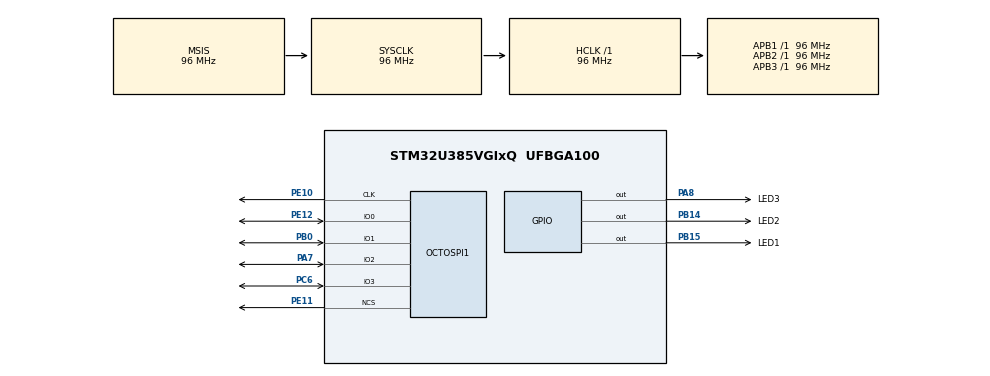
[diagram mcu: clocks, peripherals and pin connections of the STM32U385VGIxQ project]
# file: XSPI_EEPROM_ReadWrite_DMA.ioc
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CORTEX_M33_NS.userName=CORTEX_M33
GPDMA1.DESTBURSTLENGTH_GPDMACH0=1
GPDMA1.DESTDATAWIDTH_GPDMACH0=DMA_DEST_DATAWIDTH_BYTE
GPDMA1.DESTINC_GPDMACH0=DMA_DINC_INCREMENTED
GPDMA1.DIRECTION_GPDMACH1=DMA_MEMORY_TO_PERIPH
GPDMA1.DMAHANDLE_GPDMACH1=hdmatx
GPDMA1.IPHANDLE_GPDMACH0-SIMPLEREQUEST_GPDMACH0=__NULL
GPDMA1.IPHANDLE_GPDMACH1-SIMPLEREQUEST_GPDMACH1=__NULL
GPDMA1.PRIORITY_GPDMACH0=DMA_LOW_PRIORITY_HIGH_WEIGHT
GPDMA1.REQUEST_GPDMACH0=GPDMA1_REQUEST_OCTOSPI1
GPDMA1.REQUEST_GPDMACH1=GPDMA1_REQUEST_OCTOSPI1
GPDMA1.SRCBURSTLENGTH_GPDMACH0=1
GPDMA1.SRCDATAWIDTH_GPDMACH0=DMA_SRC_DATAWIDTH_BYTE
GPDMA1.SRCINC_GPDMACH1=DMA_SINC_INCREMENTED
GPDMA1.TRANSFERALLOCATEDPORTDEST_GPDMACH0=DMA_DEST_ALLOCATED_PORT1
Mcu.Family=STM32U3
Mcu.Name=STM32U385VGIxQ
Mcu.Package=UFBGA100
NVIC.GPDMA1_Channel0_IRQn=true\:0\:0\:false\:false\:true\:false\:true\:true
NVIC.GPDMA1_Channel1_IRQn=true\:0\:0\:false\:false\:true\:false\:true\:true
NVIC.OCTOSPI1_IRQn=true\:0\:0\:false\:false\:true\:true\:true\:true
NVIC.PriorityGroup=NVIC_PRIORITYGROUP_4
OCTOSPI1.ChipSelectHighTimeCycle=2
OCTOSPI1.ClockPrescaler=1
OCTOSPI1.DelayHoldQuarterCycle=HAL_XSPI_DHQC_DISABLE
OCTOSPI1.DeviceType=SPI_DEVICE_FLASH
OCTOSPI1.MemorySize=HAL_XSPI_SIZE_32MB
OCTOSPI1.MemoryType=HAL_XSPI_MEMTYPE_MACRONIX
OCTOSPI1.SampleShifting=HAL_XSPI_SAMPLE_SHIFT_HALFCYCLE
PA7.Mode=OCTOSPI1_IO[3\:0]
PA7.PinAttribute=CortexM33
PA7.Signal=OCTOSPI1_IO2
PA8.GPIO_Label=LED3
PA8.PinAttribute=Free
PA8.PinState=GPIO_PIN_SET
PA8.Signal=GPIO_Output
PB0.Mode=OCTOSPI1_IO[3\:0]
PB0.PinAttribute=CortexM33
PB0.Signal=OCTOSPI1_IO1
PB14.GPIO_Label=LED2
PB14.PinAttribute=Free
PB14.PinState=GPIO_PIN_SET
PB14.Signal=GPIO_Output
PB15.GPIO_Label=LED1
PB15.PinAttribute=Free
PB15.PinState=GPIO_PIN_SET
PB15.Signal=GPIO_Output
PC6.Mode=OCTOSPI1_IO[3\:0]
PC6.PinAttribute=CortexM33
PC6.Signal=OCTOSPI1_IO3
PE10.Mode=quad_mode
PE10.PinAttribute=CortexM33
PE10.Signal=OCTOSPI1_CLK
PE11.Mode=quad_mode
PE11.PinAttribute=CortexM33
PE11.Signal=OCTOSPI1_NCS
PE12.Mode=OCTOSPI1_IO[3\:0]
PE12.PinAttribute=CortexM33
PE12.Signal=OCTOSPI1_IO0
ProjectManager.HeapSize=0x200
ProjectManager.StackSize=0x400
ProjectManager.TargetToolchain=EWARM V9.20
RCC.ADCFreq_Value=96000000
RCC.AHBFreq_Value=96000000
RCC.APB1Freq_Value=96000000
RCC.APB1TimFreq_Value=96000000
RCC.APB2Freq_Value=96000000
RCC.APB2TimFreq_Value=96000000
RCC.APB3Freq_Value=96000000
RCC.CortexFreq_Value=12000000
RCC.HCLKFreq_Value=96000000
RCC.HSE_VALUE=16000000
RCC.HSI48_VALUE=48000000
RCC.HSI_VALUE=16000000
RCC.LSE_VALUE=32768
RCC.LSIDIV_VALUE=32000
RCC.MSISDIV=RCC_MSI_DIV1
RCC.OCTOSPIMCLockSelection=RCC_OCTOSPICLKSOURCE_MSIK
RCC.SYSCLKFreq_VALUE=96000000
RCC.USBFreq_Value=96000000
VP_GPDMA1_VS_GPDMACH0.Mode=SIMPLEREQUEST_GPDMACH0
VP_GPDMA1_VS_GPDMACH1.Mode=SIMPLEREQUEST_GPDMACH1
VP_ICACHE_VS_ICACHE.Mode=DirectMappedCache
VP_PWR_VS_DBSignals.Mode=DisableDeadBatterySignals
VP_PWR_VS_LPOM.Mode=PowerOptimisation
VP_PWR_VS_SECSignals.Mode=Security/Privilege
board=custom

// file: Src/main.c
/* USER CODE BEGIN Header */
/**
  ******************************************************************************
  * @file           : main.c
  * @brief          : Main program body
  ******************************************************************************
  * @attention
  *
  * Copyright (c) 2024 STMicroelectronics.
  * All rights reserved.
  *
  * This software is licensed under terms that can be found in the LICENSE file
  * in the root directory of this software component.
  * If no LICENSE file comes with this software, it is provided AS-IS.
  *
  ******************************************************************************
  */
/* USER CODE END Header */
#include "main.h"

XSPI_HandleTypeDef hxspi1;
DMA_HandleTypeDef handle_GPDMA1_Channel1;
DMA_HandleTypeDef handle_GPDMA1_Channel0;

/* USER CODE BEGIN PV */
/* Buffer used for transmission */
uint8_t aTxBuffer[] = " ****EEPROM QSPI communication****  ****EEPROM QSPI communication****  ****EEPROM QSPI communication****  ****EEPROM QSPI communication****  ****EEPROM QSPI communication****  ****EEPROM QSPI communication**** ";
/* Buffer used for reception */
uint8_t aRxBuffer[BUFFERSIZE];

__IO uint8_t CmdCplt, TxCplt, RxCplt;
/* USER CODE END PV */

void SystemClock_Config(void);
static void MX_GPIO_Init(void);
static void MX_GPDMA1_Init(void);
static void MX_OCTOSPI1_Init(void);
static void MX_ICACHE_Init(void);
/* USER CODE BEGIN PFP */
static void XSPI_WriteEnable(XSPI_HandleTypeDef *hxspi);
static void XSPI_AutoPollingMemReady(XSPI_HandleTypeDef *hxspi);
/* USER CODE END PFP */

int main(void)
{

  /* USER CODE BEGIN 1 */
  XSPI_RegularCmdTypeDef sCommand = {0};

  uint16_t index = 0;
  uint16_t errorBuffer = 0;
  uint32_t address = 0;
  __IO uint8_t step = 0;

  /* USER CODE END 1 */

  /* MCU Configuration--------------------------------------------------------*/

  /* Reset of all peripherals, Initializes the Flash interface and the Systick. */
  HAL_Init();

  /* Configure the system clock */
  SystemClock_Config();

  /* Initialize all configured peripherals */
  MX_GPIO_Init();
  MX_GPDMA1_Init();
  MX_OCTOSPI1_Init();
  MX_ICACHE_Init();

  /* Infinite loop */
  /* USER CODE BEGIN WHILE */
  while (1)
  {
    switch(step)
    {
    /* Step 0: Enable write operation (WE bit) and Erase Sector related
       to address: address */
    case 0:
      CmdCplt = 0;

      /* Enable write operations -------------------------------------------- */
      XSPI_WriteEnable(&hxspi1);

      /* Erasing Sequence --------------------------------------------------- */
      sCommand.OperationType      = HAL_XSPI_OPTYPE_COMMON_CFG;
      sCommand.Instruction        = SECTOR_ERASE_CMD;
      sCommand.InstructionMode    = HAL_XSPI_INSTRUCTION_1_LINE;
      sCommand.InstructionWidth   = HAL_XSPI_INSTRUCTION_8_BITS;
      sCommand.InstructionDTRMode = HAL_XSPI_INSTRUCTION_DTR_DISABLE;
      sCommand.AddressMode        = HAL_XSPI_ADDRESS_1_LINE;
      sCommand.AddressWidth       = HAL_XSPI_ADDRESS_24_BITS;
      sCommand.AddressDTRMode     = HAL_XSPI_ADDRESS_DTR_DISABLE;
      sCommand.AlternateBytesMode = HAL_XSPI_ALT_BYTES_NONE;
      sCommand.DataDTRMode        = HAL_XSPI_DATA_DTR_DISABLE;
      sCommand.DataMode           = HAL_XSPI_DATA_NONE;
      sCommand.Address            = address;
      sCommand.DummyCycles        = 0;
      sCommand.DQSMode            = HAL_XSPI_DQS_DISABLE;

      if (HAL_XSPI_Command_IT(&hxspi1, &sCommand) != HAL_OK)
      {
        Error_Handler();
      }

      step++;
      break;

      /* Step 1: Wait end of Write In Progress (WIP bit), enable write operation
      (WE bit) and Write data present at address: aTxBuffer */
    case 1:
      if(CmdCplt != 0)
      {
        CmdCplt = 0;

        /* Configure automatic polling mode to wait for end of erase -------- */
        XSPI_AutoPollingMemReady(&hxspi1);

        /* Enable write operations ------------------------------------------ */
        XSPI_WriteEnable(&hxspi1);

        /* Writing Sequence ------------------------------------------------- */
        sCommand.Instruction = PAGE_PROG_CMD;
        sCommand.DataMode    = HAL_XSPI_DATA_1_LINE;
        sCommand.AddressMode = HAL_XSPI_ADDRESS_1_LINE;
        sCommand.DataLength  = BUFFERSIZE;
        sCommand.Address     = address;

        if (HAL_XSPI_Command(&hxspi1, &sCommand, HAL_XSPI_TIMEOUT_DEFAULT_VALUE) != HAL_OK)
        {
          Error_Handler();
        }

        if (HAL_XSPI_Transmit_DMA(&hxspi1, aTxBuffer) != HAL_OK)
        {
          Error_Handler();
        }

        step++;
      }
      break;

    /* Step 2:  Wait end of Write In Progress (WIP bit) and read data into EEPROM memory */
    case 2:
      if(TxCplt != 0)
      {
        TxCplt = 0;

        /* Configure automatic polling mode to wait for end of write -------- */
        XSPI_AutoPollingMemReady(&hxspi1);

        /* Reading Sequence ----------------------------------------------- */
        sCommand.Instruction = QUAD_IO_READ_CMD;
        sCommand.DataMode    = HAL_XSPI_DATA_4_LINES;
        sCommand.DummyCycles = DUMMY_CLOCK_CYCLES_READ;

        if (HAL_XSPI_Command(&hxspi1, &sCommand, HAL_XSPI_TIMEOUT_DEFAULT_VALUE) != HAL_OK)
        {
          Error_Handler();
        }

        if (HAL_XSPI_Receive_DMA(&hxspi1, aRxBuffer) != HAL_OK)
        {
          Error_Handler();
        }
        step++;
      }
      break;

    /* Step 3: Compare Write and Read Data */
    case 3:
      if (RxCplt != 0)
      {
        RxCplt = 0;

        /* Result comparison ----------------------------------------------- */
        for (index = 0; index < BUFFERSIZE; index++)
        {
          if (aRxBuffer[index] != aTxBuffer[index])
          {
            HAL_GPIO_TogglePin(LED2_GPIO_Port, LED2_Pin);
            errorBuffer++;
          }
        }
        if (errorBuffer == 0)
        {
          HAL_GPIO_TogglePin(LED1_GPIO_Port, LED1_Pin);
          HAL_Delay(50);
        }
        address += QSPI_PAGE_SIZE;
        if(address >= QSPI_END_ADDR)
        {
          address = 0;
        }
        step = 0;
      }
      break;

    default :
      Error_Handler();
    }
    /* USER CODE END WHILE */

  }
}

void SystemClock_Config(void)
{
  RCC_OscInitTypeDef RCC_OscInitStruct = {0};
  RCC_ClkInitTypeDef RCC_ClkInitStruct = {0};

  /** Enable Epod Booster
  */
  if (HAL_RCCEx_EpodBoosterClkConfig(RCC_EPODBOOSTER_SOURCE_MSIS, RCC_EPODBOOSTER_DIV1) != HAL_OK)
  {
    Error_Handler();
  }
  if (HAL_PWREx_EnableEpodBooster() != HAL_OK)
  {
    Error_Handler();
  }

  /** Configure the main internal regulator output voltage
  */
  if (HAL_PWREx_ControlVoltageScaling(PWR_REGULATOR_VOLTAGE_SCALE1) != HAL_OK)
  {
    Error_Handler();
  }

  /** Set Flash latency before increasing MSIS
  */
  __HAL_FLASH_SET_LATENCY(FLASH_LATENCY_2);

  /** Initializes the CPU, AHB and APB buses clocks
  */
  RCC_OscInitStruct.OscillatorType = RCC_OSCILLATORTYPE_MSIS|RCC_OSCILLATORTYPE_MSIK;
  RCC_OscInitStruct.MSISState = RCC_MSI_ON;
  RCC_OscInitStruct.MSISSource = RCC_MSI_RC0;
  RCC_OscInitStruct.MSISDiv = RCC_MSI_DIV1;
  RCC_OscInitStruct.MSIKState = RCC_MSI_ON;
  RCC_OscInitStruct.MSIKSource = RCC_MSI_RC0;
  RCC_OscInitStruct.MSIKDiv = RCC_MSI_DIV1;

  if (HAL_RCC_OscConfig(&RCC_OscInitStruct) != HAL_OK)
  {
    Error_Handler();
  }

  /** Initializes the CPU, AHB and APB buses clocks
  */
  RCC_ClkInitStruct.ClockType = RCC_CLOCKTYPE_HCLK|RCC_CLOCKTYPE_SYSCLK
                              |RCC_CLOCKTYPE_PCLK1|RCC_CLOCKTYPE_PCLK2
                              |RCC_CLOCKTYPE_PCLK3;
  RCC_ClkInitStruct.SYSCLKSource = RCC_SYSCLKSOURCE_MSIS;
  RCC_ClkInitStruct.AHBCLKDivider = RCC_SYSCLK_DIV1;
  RCC_ClkInitStruct.APB1CLKDivider = RCC_HCLK_DIV1;
  RCC_ClkInitStruct.APB2CLKDivider = RCC_HCLK_DIV1;
  RCC_ClkInitStruct.APB3CLKDivider = RCC_HCLK_DIV1;

  if (HAL_RCC_ClockConfig(&RCC_ClkInitStruct, FLASH_LATENCY_2) != HAL_OK)
  {
    Error_Handler();
  }
}

static void MX_GPDMA1_Init(void)
{

  /* Peripheral clock enable */
  __HAL_RCC_GPDMA1_CLK_ENABLE();

  /* GPDMA1 interrupt Init */
    HAL_NVIC_SetPriority(GPDMA1_Channel0_IRQn, 0, 0);
    HAL_NVIC_EnableIRQ(GPDMA1_Channel0_IRQn);
    HAL_NVIC_SetPriority(GPDMA1_Channel1_IRQn, 0, 0);
    HAL_NVIC_EnableIRQ(GPDMA1_Channel1_IRQn);

}

static void MX_ICACHE_Init(void)
{

  /** Enable instruction cache in 1-way (direct mapped cache)
  */
  if (HAL_ICACHE_ConfigAssociativityMode(ICACHE_1WAY) != HAL_OK)
  {
    Error_Handler();
  }
  if (HAL_ICACHE_Enable() != HAL_OK)
  {
    Error_Handler();
  }

}

static void MX_OCTOSPI1_Init(void)
{

  /* OCTOSPI1 parameter configuration*/
  hxspi1.Instance = OCTOSPI1;
  hxspi1.Init.FifoThresholdByte = 1;
  hxspi1.Init.MemoryMode = HAL_XSPI_SINGLE_MEM;
  hxspi1.Init.MemoryType = HAL_XSPI_MEMTYPE_MACRONIX;
  hxspi1.Init.MemorySize = HAL_XSPI_SIZE_32MB;
  hxspi1.Init.ChipSelectHighTimeCycle = 2;
  hxspi1.Init.FreeRunningClock = HAL_XSPI_FREERUNCLK_DISABLE;
  hxspi1.Init.ClockMode = HAL_XSPI_CLOCK_MODE_0;
  hxspi1.Init.WrapSize = HAL_XSPI_WRAP_NOT_SUPPORTED;
  hxspi1.Init.ClockPrescaler = 1;
  hxspi1.Init.SampleShifting = HAL_XSPI_SAMPLE_SHIFT_HALFCYCLE;
  hxspi1.Init.DelayHoldQuarterCycle = HAL_XSPI_DHQC_DISABLE;
  hxspi1.Init.ChipSelectBoundary = HAL_XSPI_BONDARYOF_NONE;
  hxspi1.Init.DelayBlockBypass = HAL_XSPI_DELAY_BLOCK_BYPASS;
  hxspi1.Init.MaxTran = 0;
  hxspi1.Init.Refresh = 0;
  if (HAL_XSPI_Init(&hxspi1) != HAL_OK)
  {
    Error_Handler();
  }

}

static void MX_GPIO_Init(void)
{
  GPIO_InitTypeDef GPIO_InitStruct = {0};

  /* GPIO Ports Clock Enable */
  __HAL_RCC_GPIOA_CLK_ENABLE();
  __HAL_RCC_GPIOC_CLK_ENABLE();
  __HAL_RCC_GPIOB_CLK_ENABLE();
  __HAL_RCC_GPIOE_CLK_ENABLE();

  /*Configure GPIO pin Output Level */
  HAL_GPIO_WritePin(LED3_GPIO_Port, LED3_Pin, GPIO_PIN_SET);

  /*Configure GPIO pin Output Level */
  HAL_GPIO_WritePin(GPIOB, LED2_Pin|LED1_Pin, GPIO_PIN_SET);

  /*Configure GPIO pin : LED3_Pin */
  GPIO_InitStruct.Pin = LED3_Pin;
  GPIO_InitStruct.Mode = GPIO_MODE_OUTPUT_PP;
  GPIO_InitStruct.Pull = GPIO_NOPULL;
  GPIO_InitStruct.Speed = GPIO_SPEED_FREQ_LOW;
  HAL_GPIO_Init(LED3_GPIO_Port, &GPIO_InitStruct);

  /*Configure GPIO pins : LED2_Pin LED1_Pin */
  GPIO_InitStruct.Pin = LED2_Pin|LED1_Pin;
  GPIO_InitStruct.Mode = GPIO_MODE_OUTPUT_PP;
  GPIO_InitStruct.Pull = GPIO_NOPULL;
  GPIO_InitStruct.Speed = GPIO_SPEED_FREQ_LOW;
  HAL_GPIO_Init(GPIOB, &GPIO_InitStruct);

}

/* USER CODE BEGIN 4 */
/**
  * @brief  Command completed callbacks.
  * @param  hxspi: XSPI handle
  * @retval None
  */
void HAL_XSPI_CmdCpltCallback(XSPI_HandleTypeDef *hxspi)
{
  CmdCplt++;
}

/**
  * @brief  Tx Transfer completed callbacks.
  * @param  hqspi QSPI handle
  * @retval None
  */
void HAL_XSPI_TxCpltCallback(XSPI_HandleTypeDef *hqspi)
{
  TxCplt++;
}

/**
  * @brief  Rx Transfer completed callbacks.
  * @param  hospi: QSPI handle
  * @retval None
  */
void HAL_XSPI_RxCpltCallback(XSPI_HandleTypeDef *hospi)
{
  RxCplt++;
}

/**
  * @brief  This function send a Write Enable and wait it is effective.
  * @param  hxspi: XSPI handle
  * @retval None
  */
static void XSPI_WriteEnable(XSPI_HandleTypeDef *hxspi)
{
  XSPI_RegularCmdTypeDef  sCommand = {0};
  XSPI_AutoPollingTypeDef s_config = {0};

  /* Enable write operations ------------------------------------------ */
  sCommand.OperationType      = HAL_XSPI_OPTYPE_COMMON_CFG;
  sCommand.InstructionMode    = HAL_XSPI_INSTRUCTION_1_LINE;
  sCommand.InstructionWidth   = HAL_XSPI_INSTRUCTION_8_BITS;
  sCommand.InstructionDTRMode = HAL_XSPI_INSTRUCTION_DTR_DISABLE;
  sCommand.AddressDTRMode     = HAL_XSPI_ADDRESS_DTR_DISABLE;
  sCommand.AlternateBytesMode = HAL_XSPI_ALT_BYTES_NONE;
  sCommand.DataDTRMode        = HAL_XSPI_DATA_DTR_DISABLE;
  sCommand.DummyCycles        = 0;
  sCommand.DQSMode            = HAL_XSPI_DQS_DISABLE;

  /* Enable write operations */
  sCommand.Instruction        = WRITE_ENABLE_CMD;
  sCommand.DataMode           = HAL_XSPI_DATA_NONE;
  sCommand.AddressMode        = HAL_XSPI_ADDRESS_NONE;

  if (HAL_XSPI_Command(hxspi, &sCommand, HAL_XSPI_TIMEOUT_DEFAULT_VALUE) != HAL_OK)
  {
    Error_Handler();
  }

  /* Reconfigure XSPI to automatic polling mode to wait for write enabling */
  sCommand.Instruction        = READ_STATUS_REG_CMD;
  sCommand.DataMode           = HAL_XSPI_DATA_1_LINE;
  sCommand.DataLength         = READ_STATUS_SIZE;

  /* Send the command */
  if (HAL_XSPI_Command(hxspi, &sCommand, HAL_XSPI_TIMEOUT_DEFAULT_VALUE) != HAL_OK)
  {
      Error_Handler();
  }

  s_config.MatchValue         = WRITE_ENABLE_MASK_VALUE;
  s_config.MatchMask          = WRITE_ENABLE_MATCH_VALUE;
  s_config.MatchMode          = HAL_XSPI_MATCH_MODE_AND;
  s_config.IntervalTime       = 0x10;
  s_config.AutomaticStop      = HAL_XSPI_AUTOMATIC_STOP_ENABLE;

  if (HAL_XSPI_AutoPolling(hxspi, &s_config, HAL_XSPI_TIMEOUT_DEFAULT_VALUE) != HAL_OK)
  {
      Error_Handler();
  }
}

/**
  * @brief  This function read the SR of the memory and wait the EOP.
  * @param  hxspi: XSPI handle
  * @retval None
  */
static void XSPI_AutoPollingMemReady(XSPI_HandleTypeDef *hxspi)
{
  XSPI_RegularCmdTypeDef  sCommand = {0};
  XSPI_AutoPollingTypeDef s_config = {0};

  /* Enable write operations ------------------------------------------ */
  sCommand.OperationType      = HAL_XSPI_OPTYPE_COMMON_CFG;
  sCommand.InstructionMode    = HAL_XSPI_INSTRUCTION_1_LINE;
  sCommand.InstructionWidth   = HAL_XSPI_INSTRUCTION_8_BITS;
  sCommand.InstructionDTRMode = HAL_XSPI_INSTRUCTION_DTR_DISABLE;
  sCommand.AddressDTRMode     = HAL_XSPI_ADDRESS_DTR_DISABLE;
  sCommand.AddressMode        = HAL_XSPI_ADDRESS_NONE;
  sCommand.AlternateBytesMode = HAL_XSPI_ALT_BYTES_NONE;
  sCommand.DataDTRMode        = HAL_XSPI_DATA_DTR_DISABLE;
  sCommand.DummyCycles        = 0;
  sCommand.DQSMode            = HAL_XSPI_DQS_DISABLE;

  /* Configure XSPI to automatic polling mode to wait end of write in progress */
  sCommand.Instruction        = READ_STATUS_REG_CMD;
  sCommand.DataMode           = HAL_XSPI_DATA_1_LINE;
  sCommand.DataLength         = READ_STATUS_SIZE;

  /* Send the command */
  if (HAL_XSPI_Command(hxspi, &sCommand, HAL_XSPI_TIMEOUT_DEFAULT_VALUE) != HAL_OK)
  {
    Error_Handler();
  }

  s_config.MatchValue         = MEMORY_READY_MATCH_VALUE;
  s_config.MatchMask          = MEMORY_READY_MASK_VALUE;
  s_config.MatchMode          = HAL_XSPI_MATCH_MODE_AND;
  s_config.IntervalTime       = 0x10;
  s_config.AutomaticStop      = HAL_XSPI_AUTOMATIC_STOP_ENABLE;

  if (HAL_XSPI_AutoPolling(hxspi, &s_config, HAL_XSPI_TIMEOUT_DEFAULT_VALUE) != HAL_OK)
  {
    Error_Handler();
  }
}
/* USER CODE END 4 */

void Error_Handler(void)
{
  __disable_irq();
  while (1)
  {
  }
}
